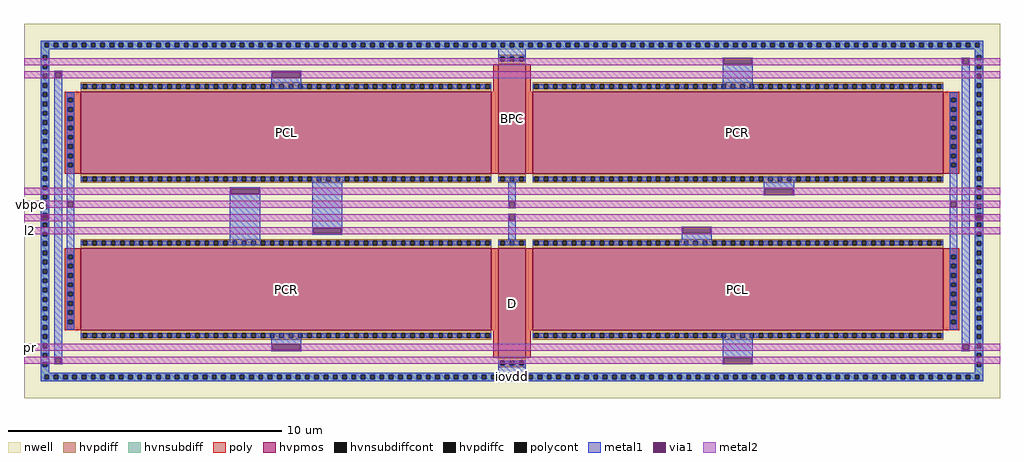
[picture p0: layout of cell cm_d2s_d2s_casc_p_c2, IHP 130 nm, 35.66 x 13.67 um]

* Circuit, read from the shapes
.subckt cm_d2s_d2s_casc_p_c2 l2 vbpc a pr pl iovdd
XM1 a vbpc pr iovdd sg13_hv_pmos w=15u l=3u m=2
XM2 pl vbpc l2 iovdd sg13_hv_pmos w=15u l=3u m=2
XM3 iovdd vbpc iovdd iovdd sg13_hv_pmos w=1u l=4u
XM4 iovdd vbpc vbpc iovdd sg13_hv_pmos w=1u l=4u
.ends

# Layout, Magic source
magic
tech ihp-sg13cmos5l
magscale 1 2
<< nwell >>
rect 0 0 7132 2734
<< hvnsubdiff >>
rect 124 2596 7008 2610
rect 124 2564 150 2596
rect 182 2564 218 2596
rect 250 2564 286 2596
rect 318 2564 354 2596
rect 386 2564 422 2596
rect 454 2564 490 2596
rect 522 2564 558 2596
rect 590 2564 626 2596
rect 658 2564 694 2596
rect 726 2564 762 2596
rect 794 2564 830 2596
rect 862 2564 898 2596
rect 930 2564 966 2596
rect 998 2564 1034 2596
rect 1066 2564 1102 2596
rect 1134 2564 1170 2596
rect 1202 2564 1238 2596
rect 1270 2564 1306 2596
rect 1338 2564 1374 2596
rect 1406 2564 1442 2596
rect 1474 2564 1510 2596
rect 1542 2564 1578 2596
rect 1610 2564 1646 2596
rect 1678 2564 1714 2596
rect 1746 2564 1782 2596
rect 1814 2564 1850 2596
rect 1882 2564 1918 2596
rect 1950 2564 1986 2596
rect 2018 2564 2054 2596
rect 2086 2564 2122 2596
rect 2154 2564 2190 2596
rect 2222 2564 2258 2596
rect 2290 2564 2326 2596
rect 2358 2564 2394 2596
rect 2426 2564 2462 2596
rect 2494 2564 2530 2596
rect 2562 2564 2598 2596
rect 2630 2564 2666 2596
rect 2698 2564 2734 2596
rect 2766 2564 2802 2596
rect 2834 2564 2870 2596
rect 2902 2564 2938 2596
rect 2970 2564 3006 2596
rect 3038 2564 3074 2596
rect 3106 2564 3142 2596
rect 3174 2564 3210 2596
rect 3242 2564 3278 2596
rect 3310 2564 3346 2596
rect 3378 2564 3414 2596
rect 3446 2564 3482 2596
rect 3514 2564 3550 2596
rect 3582 2564 3618 2596
rect 3650 2564 3686 2596
rect 3718 2564 3754 2596
rect 3786 2564 3822 2596
rect 3854 2564 3890 2596
rect 3922 2564 3958 2596
rect 3990 2564 4026 2596
rect 4058 2564 4094 2596
rect 4126 2564 4162 2596
rect 4194 2564 4230 2596
rect 4262 2564 4298 2596
rect 4330 2564 4366 2596
rect 4398 2564 4434 2596
rect 4466 2564 4502 2596
rect 4534 2564 4570 2596
rect 4602 2564 4638 2596
rect 4670 2564 4706 2596
rect 4738 2564 4774 2596
rect 4806 2564 4842 2596
rect 4874 2564 4910 2596
rect 4942 2564 4978 2596
rect 5010 2564 5046 2596
rect 5078 2564 5114 2596
rect 5146 2564 5182 2596
rect 5214 2564 5250 2596
rect 5282 2564 5318 2596
rect 5350 2564 5386 2596
rect 5418 2564 5454 2596
rect 5486 2564 5522 2596
rect 5554 2564 5590 2596
rect 5622 2564 5658 2596
rect 5690 2564 5726 2596
rect 5758 2564 5794 2596
rect 5826 2564 5862 2596
rect 5894 2564 5930 2596
rect 5962 2564 5998 2596
rect 6030 2564 6066 2596
rect 6098 2564 6134 2596
rect 6166 2564 6202 2596
rect 6234 2564 6270 2596
rect 6302 2564 6338 2596
rect 6370 2564 6406 2596
rect 6438 2564 6474 2596
rect 6506 2564 6542 2596
rect 6574 2564 6610 2596
rect 6642 2564 6678 2596
rect 6710 2564 6746 2596
rect 6778 2564 6814 2596
rect 6846 2564 6882 2596
rect 6914 2564 6950 2596
rect 6982 2564 7008 2596
rect 124 2550 7008 2564
rect 124 2505 184 2550
rect 124 2473 138 2505
rect 170 2473 184 2505
rect 124 2437 184 2473
rect 124 2405 138 2437
rect 170 2405 184 2437
rect 124 2369 184 2405
rect 124 2337 138 2369
rect 170 2337 184 2369
rect 124 2301 184 2337
rect 124 2269 138 2301
rect 170 2269 184 2301
rect 124 2233 184 2269
rect 6948 2505 7008 2550
rect 6948 2473 6962 2505
rect 6994 2473 7008 2505
rect 6948 2437 7008 2473
rect 6948 2405 6962 2437
rect 6994 2405 7008 2437
rect 6948 2369 7008 2405
rect 6948 2337 6962 2369
rect 6994 2337 7008 2369
rect 6948 2301 7008 2337
rect 6948 2269 6962 2301
rect 6994 2269 7008 2301
rect 124 2201 138 2233
rect 170 2201 184 2233
rect 124 2165 184 2201
rect 124 2133 138 2165
rect 170 2133 184 2165
rect 124 2097 184 2133
rect 124 2065 138 2097
rect 170 2065 184 2097
rect 124 2029 184 2065
rect 124 1997 138 2029
rect 170 1997 184 2029
rect 124 1961 184 1997
rect 124 1929 138 1961
rect 170 1929 184 1961
rect 124 1893 184 1929
rect 124 1861 138 1893
rect 170 1861 184 1893
rect 124 1825 184 1861
rect 124 1793 138 1825
rect 170 1793 184 1825
rect 124 1757 184 1793
rect 124 1725 138 1757
rect 170 1725 184 1757
rect 124 1689 184 1725
rect 124 1657 138 1689
rect 170 1657 184 1689
rect 124 1621 184 1657
rect 6948 2233 7008 2269
rect 6948 2201 6962 2233
rect 6994 2201 7008 2233
rect 6948 2165 7008 2201
rect 6948 2133 6962 2165
rect 6994 2133 7008 2165
rect 6948 2097 7008 2133
rect 6948 2065 6962 2097
rect 6994 2065 7008 2097
rect 6948 2029 7008 2065
rect 6948 1997 6962 2029
rect 6994 1997 7008 2029
rect 6948 1961 7008 1997
rect 6948 1929 6962 1961
rect 6994 1929 7008 1961
rect 6948 1893 7008 1929
rect 6948 1861 6962 1893
rect 6994 1861 7008 1893
rect 6948 1825 7008 1861
rect 6948 1793 6962 1825
rect 6994 1793 7008 1825
rect 6948 1757 7008 1793
rect 6948 1725 6962 1757
rect 6994 1725 7008 1757
rect 6948 1689 7008 1725
rect 6948 1657 6962 1689
rect 6994 1657 7008 1689
rect 124 1589 138 1621
rect 170 1589 184 1621
rect 124 1553 184 1589
rect 124 1521 138 1553
rect 170 1521 184 1553
rect 124 1485 184 1521
rect 124 1453 138 1485
rect 170 1453 184 1485
rect 124 1417 184 1453
rect 124 1385 138 1417
rect 170 1385 184 1417
rect 124 1349 184 1385
rect 124 1317 138 1349
rect 170 1317 184 1349
rect 124 1281 184 1317
rect 124 1249 138 1281
rect 170 1249 184 1281
rect 124 1213 184 1249
rect 124 1181 138 1213
rect 170 1181 184 1213
rect 124 1145 184 1181
rect 124 1113 138 1145
rect 170 1113 184 1145
rect 124 1077 184 1113
rect 6948 1621 7008 1657
rect 6948 1589 6962 1621
rect 6994 1589 7008 1621
rect 6948 1553 7008 1589
rect 6948 1521 6962 1553
rect 6994 1521 7008 1553
rect 6948 1485 7008 1521
rect 6948 1453 6962 1485
rect 6994 1453 7008 1485
rect 6948 1417 7008 1453
rect 6948 1385 6962 1417
rect 6994 1385 7008 1417
rect 6948 1349 7008 1385
rect 6948 1317 6962 1349
rect 6994 1317 7008 1349
rect 6948 1281 7008 1317
rect 6948 1249 6962 1281
rect 6994 1249 7008 1281
rect 6948 1213 7008 1249
rect 6948 1181 6962 1213
rect 6994 1181 7008 1213
rect 6948 1145 7008 1181
rect 6948 1113 6962 1145
rect 6994 1113 7008 1145
rect 124 1045 138 1077
rect 170 1045 184 1077
rect 124 1009 184 1045
rect 124 977 138 1009
rect 170 977 184 1009
rect 124 941 184 977
rect 124 909 138 941
rect 170 909 184 941
rect 124 873 184 909
rect 124 841 138 873
rect 170 841 184 873
rect 124 805 184 841
rect 124 773 138 805
rect 170 773 184 805
rect 124 737 184 773
rect 124 705 138 737
rect 170 705 184 737
rect 124 669 184 705
rect 124 637 138 669
rect 170 637 184 669
rect 124 601 184 637
rect 124 569 138 601
rect 170 569 184 601
rect 124 533 184 569
rect 124 501 138 533
rect 170 501 184 533
rect 124 465 184 501
rect 6948 1077 7008 1113
rect 6948 1045 6962 1077
rect 6994 1045 7008 1077
rect 6948 1009 7008 1045
rect 6948 977 6962 1009
rect 6994 977 7008 1009
rect 6948 941 7008 977
rect 6948 909 6962 941
rect 6994 909 7008 941
rect 6948 873 7008 909
rect 6948 841 6962 873
rect 6994 841 7008 873
rect 6948 805 7008 841
rect 6948 773 6962 805
rect 6994 773 7008 805
rect 6948 737 7008 773
rect 6948 705 6962 737
rect 6994 705 7008 737
rect 6948 669 7008 705
rect 6948 637 6962 669
rect 6994 637 7008 669
rect 6948 601 7008 637
rect 6948 569 6962 601
rect 6994 569 7008 601
rect 6948 533 7008 569
rect 6948 501 6962 533
rect 6994 501 7008 533
rect 124 433 138 465
rect 170 433 184 465
rect 124 397 184 433
rect 124 365 138 397
rect 170 365 184 397
rect 124 329 184 365
rect 124 297 138 329
rect 170 297 184 329
rect 124 261 184 297
rect 124 229 138 261
rect 170 229 184 261
rect 124 184 184 229
rect 6948 465 7008 501
rect 6948 433 6962 465
rect 6994 433 7008 465
rect 6948 397 7008 433
rect 6948 365 6962 397
rect 6994 365 7008 397
rect 6948 329 7008 365
rect 6948 297 6962 329
rect 6994 297 7008 329
rect 6948 261 7008 297
rect 6948 229 6962 261
rect 6994 229 7008 261
rect 6948 184 7008 229
rect 124 170 7008 184
rect 124 138 150 170
rect 182 138 218 170
rect 250 138 286 170
rect 318 138 354 170
rect 386 138 422 170
rect 454 138 490 170
rect 522 138 558 170
rect 590 138 626 170
rect 658 138 694 170
rect 726 138 762 170
rect 794 138 830 170
rect 862 138 898 170
rect 930 138 966 170
rect 998 138 1034 170
rect 1066 138 1102 170
rect 1134 138 1170 170
rect 1202 138 1238 170
rect 1270 138 1306 170
rect 1338 138 1374 170
rect 1406 138 1442 170
rect 1474 138 1510 170
rect 1542 138 1578 170
rect 1610 138 1646 170
rect 1678 138 1714 170
rect 1746 138 1782 170
rect 1814 138 1850 170
rect 1882 138 1918 170
rect 1950 138 1986 170
rect 2018 138 2054 170
rect 2086 138 2122 170
rect 2154 138 2190 170
rect 2222 138 2258 170
rect 2290 138 2326 170
rect 2358 138 2394 170
rect 2426 138 2462 170
rect 2494 138 2530 170
rect 2562 138 2598 170
rect 2630 138 2666 170
rect 2698 138 2734 170
rect 2766 138 2802 170
rect 2834 138 2870 170
rect 2902 138 2938 170
rect 2970 138 3006 170
rect 3038 138 3074 170
rect 3106 138 3142 170
rect 3174 138 3210 170
rect 3242 138 3278 170
rect 3310 138 3346 170
rect 3378 138 3414 170
rect 3446 138 3482 170
rect 3514 138 3550 170
rect 3582 138 3618 170
rect 3650 138 3686 170
rect 3718 138 3754 170
rect 3786 138 3822 170
rect 3854 138 3890 170
rect 3922 138 3958 170
rect 3990 138 4026 170
rect 4058 138 4094 170
rect 4126 138 4162 170
rect 4194 138 4230 170
rect 4262 138 4298 170
rect 4330 138 4366 170
rect 4398 138 4434 170
rect 4466 138 4502 170
rect 4534 138 4570 170
rect 4602 138 4638 170
rect 4670 138 4706 170
rect 4738 138 4774 170
rect 4806 138 4842 170
rect 4874 138 4910 170
rect 4942 138 4978 170
rect 5010 138 5046 170
rect 5078 138 5114 170
rect 5146 138 5182 170
rect 5214 138 5250 170
rect 5282 138 5318 170
rect 5350 138 5386 170
rect 5418 138 5454 170
rect 5486 138 5522 170
rect 5554 138 5590 170
rect 5622 138 5658 170
rect 5690 138 5726 170
rect 5758 138 5794 170
rect 5826 138 5862 170
rect 5894 138 5930 170
rect 5962 138 5998 170
rect 6030 138 6066 170
rect 6098 138 6134 170
rect 6166 138 6202 170
rect 6234 138 6270 170
rect 6302 138 6338 170
rect 6370 138 6406 170
rect 6438 138 6474 170
rect 6506 138 6542 170
rect 6574 138 6610 170
rect 6642 138 6678 170
rect 6710 138 6746 170
rect 6778 138 6814 170
rect 6846 138 6882 170
rect 6914 138 6950 170
rect 6982 138 7008 170
rect 124 124 7008 138
<< hvnsubdiffcont >>
rect 150 2564 182 2596
rect 218 2564 250 2596
rect 286 2564 318 2596
rect 354 2564 386 2596
rect 422 2564 454 2596
rect 490 2564 522 2596
rect 558 2564 590 2596
rect 626 2564 658 2596
rect 694 2564 726 2596
rect 762 2564 794 2596
rect 830 2564 862 2596
rect 898 2564 930 2596
rect 966 2564 998 2596
rect 1034 2564 1066 2596
rect 1102 2564 1134 2596
rect 1170 2564 1202 2596
rect 1238 2564 1270 2596
rect 1306 2564 1338 2596
rect 1374 2564 1406 2596
rect 1442 2564 1474 2596
rect 1510 2564 1542 2596
rect 1578 2564 1610 2596
rect 1646 2564 1678 2596
rect 1714 2564 1746 2596
rect 1782 2564 1814 2596
rect 1850 2564 1882 2596
rect 1918 2564 1950 2596
rect 1986 2564 2018 2596
rect 2054 2564 2086 2596
rect 2122 2564 2154 2596
rect 2190 2564 2222 2596
rect 2258 2564 2290 2596
rect 2326 2564 2358 2596
rect 2394 2564 2426 2596
rect 2462 2564 2494 2596
rect 2530 2564 2562 2596
rect 2598 2564 2630 2596
rect 2666 2564 2698 2596
rect 2734 2564 2766 2596
rect 2802 2564 2834 2596
rect 2870 2564 2902 2596
rect 2938 2564 2970 2596
rect 3006 2564 3038 2596
rect 3074 2564 3106 2596
rect 3142 2564 3174 2596
rect 3210 2564 3242 2596
rect 3278 2564 3310 2596
rect 3346 2564 3378 2596
rect 3414 2564 3446 2596
rect 3482 2564 3514 2596
rect 3550 2564 3582 2596
rect 3618 2564 3650 2596
rect 3686 2564 3718 2596
rect 3754 2564 3786 2596
rect 3822 2564 3854 2596
rect 3890 2564 3922 2596
rect 3958 2564 3990 2596
rect 4026 2564 4058 2596
rect 4094 2564 4126 2596
rect 4162 2564 4194 2596
rect 4230 2564 4262 2596
rect 4298 2564 4330 2596
rect 4366 2564 4398 2596
rect 4434 2564 4466 2596
rect 4502 2564 4534 2596
rect 4570 2564 4602 2596
rect 4638 2564 4670 2596
rect 4706 2564 4738 2596
rect 4774 2564 4806 2596
rect 4842 2564 4874 2596
rect 4910 2564 4942 2596
rect 4978 2564 5010 2596
rect 5046 2564 5078 2596
rect 5114 2564 5146 2596
rect 5182 2564 5214 2596
rect 5250 2564 5282 2596
rect 5318 2564 5350 2596
rect 5386 2564 5418 2596
rect 5454 2564 5486 2596
rect 5522 2564 5554 2596
rect 5590 2564 5622 2596
rect 5658 2564 5690 2596
rect 5726 2564 5758 2596
rect 5794 2564 5826 2596
rect 5862 2564 5894 2596
rect 5930 2564 5962 2596
rect 5998 2564 6030 2596
rect 6066 2564 6098 2596
rect 6134 2564 6166 2596
rect 6202 2564 6234 2596
rect 6270 2564 6302 2596
rect 6338 2564 6370 2596
rect 6406 2564 6438 2596
rect 6474 2564 6506 2596
rect 6542 2564 6574 2596
rect 6610 2564 6642 2596
rect 6678 2564 6710 2596
rect 6746 2564 6778 2596
rect 6814 2564 6846 2596
rect 6882 2564 6914 2596
rect 6950 2564 6982 2596
rect 138 2473 170 2505
rect 138 2405 170 2437
rect 138 2337 170 2369
rect 138 2269 170 2301
rect 6962 2473 6994 2505
rect 6962 2405 6994 2437
rect 6962 2337 6994 2369
rect 6962 2269 6994 2301
rect 138 2201 170 2233
rect 138 2133 170 2165
rect 138 2065 170 2097
rect 138 1997 170 2029
rect 138 1929 170 1961
rect 138 1861 170 1893
rect 138 1793 170 1825
rect 138 1725 170 1757
rect 138 1657 170 1689
rect 6962 2201 6994 2233
rect 6962 2133 6994 2165
rect 6962 2065 6994 2097
rect 6962 1997 6994 2029
rect 6962 1929 6994 1961
rect 6962 1861 6994 1893
rect 6962 1793 6994 1825
rect 6962 1725 6994 1757
rect 6962 1657 6994 1689
rect 138 1589 170 1621
rect 138 1521 170 1553
rect 138 1453 170 1485
rect 138 1385 170 1417
rect 138 1317 170 1349
rect 138 1249 170 1281
rect 138 1181 170 1213
rect 138 1113 170 1145
rect 6962 1589 6994 1621
rect 6962 1521 6994 1553
rect 6962 1453 6994 1485
rect 6962 1385 6994 1417
rect 6962 1317 6994 1349
rect 6962 1249 6994 1281
rect 6962 1181 6994 1213
rect 6962 1113 6994 1145
rect 138 1045 170 1077
rect 138 977 170 1009
rect 138 909 170 941
rect 138 841 170 873
rect 138 773 170 805
rect 138 705 170 737
rect 138 637 170 669
rect 138 569 170 601
rect 138 501 170 533
rect 6962 1045 6994 1077
rect 6962 977 6994 1009
rect 6962 909 6994 941
rect 6962 841 6994 873
rect 6962 773 6994 805
rect 6962 705 6994 737
rect 6962 637 6994 669
rect 6962 569 6994 601
rect 6962 501 6994 533
rect 138 433 170 465
rect 138 365 170 397
rect 138 297 170 329
rect 138 229 170 261
rect 6962 433 6994 465
rect 6962 365 6994 397
rect 6962 297 6994 329
rect 6962 229 6994 261
rect 150 138 182 170
rect 218 138 250 170
rect 286 138 318 170
rect 354 138 386 170
rect 422 138 454 170
rect 490 138 522 170
rect 558 138 590 170
rect 626 138 658 170
rect 694 138 726 170
rect 762 138 794 170
rect 830 138 862 170
rect 898 138 930 170
rect 966 138 998 170
rect 1034 138 1066 170
rect 1102 138 1134 170
rect 1170 138 1202 170
rect 1238 138 1270 170
rect 1306 138 1338 170
rect 1374 138 1406 170
rect 1442 138 1474 170
rect 1510 138 1542 170
rect 1578 138 1610 170
rect 1646 138 1678 170
rect 1714 138 1746 170
rect 1782 138 1814 170
rect 1850 138 1882 170
rect 1918 138 1950 170
rect 1986 138 2018 170
rect 2054 138 2086 170
rect 2122 138 2154 170
rect 2190 138 2222 170
rect 2258 138 2290 170
rect 2326 138 2358 170
rect 2394 138 2426 170
rect 2462 138 2494 170
rect 2530 138 2562 170
rect 2598 138 2630 170
rect 2666 138 2698 170
rect 2734 138 2766 170
rect 2802 138 2834 170
rect 2870 138 2902 170
rect 2938 138 2970 170
rect 3006 138 3038 170
rect 3074 138 3106 170
rect 3142 138 3174 170
rect 3210 138 3242 170
rect 3278 138 3310 170
rect 3346 138 3378 170
rect 3414 138 3446 170
rect 3482 138 3514 170
rect 3550 138 3582 170
rect 3618 138 3650 170
rect 3686 138 3718 170
rect 3754 138 3786 170
rect 3822 138 3854 170
rect 3890 138 3922 170
rect 3958 138 3990 170
rect 4026 138 4058 170
rect 4094 138 4126 170
rect 4162 138 4194 170
rect 4230 138 4262 170
rect 4298 138 4330 170
rect 4366 138 4398 170
rect 4434 138 4466 170
rect 4502 138 4534 170
rect 4570 138 4602 170
rect 4638 138 4670 170
rect 4706 138 4738 170
rect 4774 138 4806 170
rect 4842 138 4874 170
rect 4910 138 4942 170
rect 4978 138 5010 170
rect 5046 138 5078 170
rect 5114 138 5146 170
rect 5182 138 5214 170
rect 5250 138 5282 170
rect 5318 138 5350 170
rect 5386 138 5418 170
rect 5454 138 5486 170
rect 5522 138 5554 170
rect 5590 138 5622 170
rect 5658 138 5690 170
rect 5726 138 5758 170
rect 5794 138 5826 170
rect 5862 138 5894 170
rect 5930 138 5962 170
rect 5998 138 6030 170
rect 6066 138 6098 170
rect 6134 138 6166 170
rect 6202 138 6234 170
rect 6270 138 6302 170
rect 6338 138 6370 170
rect 6406 138 6438 170
rect 6474 138 6506 170
rect 6542 138 6574 170
rect 6610 138 6642 170
rect 6678 138 6710 170
rect 6746 138 6778 170
rect 6814 138 6846 170
rect 6882 138 6914 170
rect 6950 138 6982 170
<< poly >>
rect 296 2194 416 2240
rect 296 2162 324 2194
rect 356 2162 416 2194
rect 296 2126 416 2162
rect 296 2094 324 2126
rect 356 2094 416 2126
rect 296 2058 416 2094
rect 296 2026 324 2058
rect 356 2026 416 2058
rect 296 1990 416 2026
rect 296 1958 324 1990
rect 356 1958 416 1990
rect 296 1922 416 1958
rect 296 1890 324 1922
rect 356 1890 416 1922
rect 296 1854 416 1890
rect 296 1822 324 1854
rect 356 1822 416 1854
rect 296 1786 416 1822
rect 296 1754 324 1786
rect 356 1754 416 1786
rect 296 1718 416 1754
rect 296 1686 324 1718
rect 356 1686 416 1718
rect 296 1640 416 1686
rect 6716 2194 6836 2240
rect 6716 2162 6776 2194
rect 6808 2162 6836 2194
rect 6716 2126 6836 2162
rect 6716 2094 6776 2126
rect 6808 2094 6836 2126
rect 6716 2058 6836 2094
rect 6716 2026 6776 2058
rect 6808 2026 6836 2058
rect 6716 1990 6836 2026
rect 6716 1958 6776 1990
rect 6808 1958 6836 1990
rect 6716 1922 6836 1958
rect 6716 1890 6776 1922
rect 6808 1890 6836 1922
rect 6716 1854 6836 1890
rect 6716 1822 6776 1854
rect 6808 1822 6836 1854
rect 6716 1786 6836 1822
rect 6716 1754 6776 1786
rect 6808 1754 6836 1786
rect 6716 1718 6836 1754
rect 6716 1686 6776 1718
rect 6808 1686 6836 1718
rect 6716 1640 6836 1686
rect 296 1048 416 1094
rect 296 1016 324 1048
rect 356 1016 416 1048
rect 296 980 416 1016
rect 296 948 324 980
rect 356 948 416 980
rect 296 912 416 948
rect 296 880 324 912
rect 356 880 416 912
rect 296 844 416 880
rect 296 812 324 844
rect 356 812 416 844
rect 296 776 416 812
rect 296 744 324 776
rect 356 744 416 776
rect 296 708 416 744
rect 296 676 324 708
rect 356 676 416 708
rect 296 640 416 676
rect 296 608 324 640
rect 356 608 416 640
rect 296 572 416 608
rect 296 540 324 572
rect 356 540 416 572
rect 296 494 416 540
rect 6716 1048 6836 1094
rect 6716 1016 6776 1048
rect 6808 1016 6836 1048
rect 6716 980 6836 1016
rect 6716 948 6776 980
rect 6808 948 6836 980
rect 6716 912 6836 948
rect 6716 880 6776 912
rect 6808 880 6836 912
rect 6716 844 6836 880
rect 6716 812 6776 844
rect 6808 812 6836 844
rect 6716 776 6836 812
rect 6716 744 6776 776
rect 6808 744 6836 776
rect 6716 708 6836 744
rect 6716 676 6776 708
rect 6808 676 6836 708
rect 6716 640 6836 676
rect 6716 608 6776 640
rect 6808 608 6836 640
rect 6716 572 6836 608
rect 6716 540 6776 572
rect 6808 540 6836 572
rect 6716 494 6836 540
<< polycont >>
rect 324 2162 356 2194
rect 324 2094 356 2126
rect 324 2026 356 2058
rect 324 1958 356 1990
rect 324 1890 356 1922
rect 324 1822 356 1854
rect 324 1754 356 1786
rect 324 1686 356 1718
rect 6776 2162 6808 2194
rect 6776 2094 6808 2126
rect 6776 2026 6808 2058
rect 6776 1958 6808 1990
rect 6776 1890 6808 1922
rect 6776 1822 6808 1854
rect 6776 1754 6808 1786
rect 6776 1686 6808 1718
rect 324 1016 356 1048
rect 324 948 356 980
rect 324 880 356 912
rect 324 812 356 844
rect 324 744 356 776
rect 324 676 356 708
rect 324 608 356 640
rect 324 540 356 572
rect 6776 1016 6808 1048
rect 6776 948 6808 980
rect 6776 880 6808 912
rect 6776 812 6808 844
rect 6776 744 6808 776
rect 6776 676 6808 708
rect 6776 608 6808 640
rect 6776 540 6808 572
<< metal1 >>
rect 124 2596 7008 2610
rect 124 2564 150 2596
rect 182 2564 218 2596
rect 250 2564 286 2596
rect 318 2564 354 2596
rect 386 2564 422 2596
rect 454 2564 490 2596
rect 522 2564 558 2596
rect 590 2564 626 2596
rect 658 2564 694 2596
rect 726 2564 762 2596
rect 794 2564 830 2596
rect 862 2564 898 2596
rect 930 2564 966 2596
rect 998 2564 1034 2596
rect 1066 2564 1102 2596
rect 1134 2564 1170 2596
rect 1202 2564 1238 2596
rect 1270 2564 1306 2596
rect 1338 2564 1374 2596
rect 1406 2564 1442 2596
rect 1474 2564 1510 2596
rect 1542 2564 1578 2596
rect 1610 2564 1646 2596
rect 1678 2564 1714 2596
rect 1746 2564 1782 2596
rect 1814 2564 1850 2596
rect 1882 2564 1918 2596
rect 1950 2564 1986 2596
rect 2018 2564 2054 2596
rect 2086 2564 2122 2596
rect 2154 2564 2190 2596
rect 2222 2564 2258 2596
rect 2290 2564 2326 2596
rect 2358 2564 2394 2596
rect 2426 2564 2462 2596
rect 2494 2564 2530 2596
rect 2562 2564 2598 2596
rect 2630 2564 2666 2596
rect 2698 2564 2734 2596
rect 2766 2564 2802 2596
rect 2834 2564 2870 2596
rect 2902 2564 2938 2596
rect 2970 2564 3006 2596
rect 3038 2564 3074 2596
rect 3106 2564 3142 2596
rect 3174 2564 3210 2596
rect 3242 2564 3278 2596
rect 3310 2564 3346 2596
rect 3378 2564 3414 2596
rect 3446 2564 3482 2596
rect 3514 2564 3550 2596
rect 3582 2564 3618 2596
rect 3650 2564 3686 2596
rect 3718 2564 3754 2596
rect 3786 2564 3822 2596
rect 3854 2564 3890 2596
rect 3922 2564 3958 2596
rect 3990 2564 4026 2596
rect 4058 2564 4094 2596
rect 4126 2564 4162 2596
rect 4194 2564 4230 2596
rect 4262 2564 4298 2596
rect 4330 2564 4366 2596
rect 4398 2564 4434 2596
rect 4466 2564 4502 2596
rect 4534 2564 4570 2596
rect 4602 2564 4638 2596
rect 4670 2564 4706 2596
rect 4738 2564 4774 2596
rect 4806 2564 4842 2596
rect 4874 2564 4910 2596
rect 4942 2564 4978 2596
rect 5010 2564 5046 2596
rect 5078 2564 5114 2596
rect 5146 2564 5182 2596
rect 5214 2564 5250 2596
rect 5282 2564 5318 2596
rect 5350 2564 5386 2596
rect 5418 2564 5454 2596
rect 5486 2564 5522 2596
rect 5554 2564 5590 2596
rect 5622 2564 5658 2596
rect 5690 2564 5726 2596
rect 5758 2564 5794 2596
rect 5826 2564 5862 2596
rect 5894 2564 5930 2596
rect 5962 2564 5998 2596
rect 6030 2564 6066 2596
rect 6098 2564 6134 2596
rect 6166 2564 6202 2596
rect 6234 2564 6270 2596
rect 6302 2564 6338 2596
rect 6370 2564 6406 2596
rect 6438 2564 6474 2596
rect 6506 2564 6542 2596
rect 6574 2564 6610 2596
rect 6642 2564 6678 2596
rect 6710 2564 6746 2596
rect 6778 2564 6814 2596
rect 6846 2564 6882 2596
rect 6914 2564 6950 2596
rect 6982 2564 7008 2596
rect 124 2550 7008 2564
rect 124 2505 184 2550
rect 124 2473 138 2505
rect 170 2473 184 2505
rect 3466 2494 3666 2550
rect 6948 2505 7008 2550
rect 124 2437 184 2473
rect 124 2405 138 2437
rect 170 2405 184 2437
rect 124 2369 184 2405
rect 5105 2478 5327 2487
rect 5105 2438 5114 2478
rect 5318 2438 5327 2478
rect 124 2337 138 2369
rect 170 2337 184 2369
rect 124 2301 184 2337
rect 124 2269 138 2301
rect 170 2269 184 2301
rect 124 2233 184 2269
rect 124 2201 138 2233
rect 170 2201 184 2233
rect 124 2165 184 2201
rect 124 2133 138 2165
rect 170 2133 184 2165
rect 124 2097 184 2133
rect 124 2065 138 2097
rect 170 2065 184 2097
rect 124 2029 184 2065
rect 124 1997 138 2029
rect 170 1997 184 2029
rect 124 1961 184 1997
rect 124 1929 138 1961
rect 170 1929 184 1961
rect 124 1893 184 1929
rect 124 1861 138 1893
rect 170 1861 184 1893
rect 124 1825 184 1861
rect 124 1793 138 1825
rect 170 1793 184 1825
rect 124 1757 184 1793
rect 124 1725 138 1757
rect 170 1725 184 1757
rect 124 1689 184 1725
rect 124 1657 138 1689
rect 170 1657 184 1689
rect 124 1621 184 1657
rect 124 1589 138 1621
rect 170 1589 184 1621
rect 124 1553 184 1589
rect 124 1521 138 1553
rect 170 1521 184 1553
rect 124 1485 184 1521
rect 124 1453 138 1485
rect 170 1453 184 1485
rect 124 1417 184 1453
rect 124 1385 138 1417
rect 170 1385 184 1417
rect 124 1349 184 1385
rect 124 1339 138 1349
rect 170 1339 184 1349
rect 124 1299 134 1339
rect 174 1299 184 1339
rect 124 1281 184 1299
rect 124 1249 138 1281
rect 170 1249 184 1281
rect 124 1213 184 1249
rect 124 1181 138 1213
rect 170 1181 184 1213
rect 124 1145 184 1181
rect 124 1113 138 1145
rect 170 1113 184 1145
rect 124 1077 184 1113
rect 124 1045 138 1077
rect 170 1045 184 1077
rect 124 1009 184 1045
rect 124 977 138 1009
rect 170 977 184 1009
rect 124 941 184 977
rect 124 909 138 941
rect 170 909 184 941
rect 124 873 184 909
rect 124 841 138 873
rect 170 841 184 873
rect 124 805 184 841
rect 124 773 138 805
rect 170 773 184 805
rect 124 737 184 773
rect 124 705 138 737
rect 170 705 184 737
rect 124 669 184 705
rect 124 637 138 669
rect 170 637 184 669
rect 124 601 184 637
rect 124 569 138 601
rect 170 569 184 601
rect 124 533 184 569
rect 124 501 138 533
rect 170 501 184 533
rect 124 465 184 501
rect 124 433 138 465
rect 170 433 184 465
rect 124 397 184 433
rect 124 365 138 397
rect 170 365 184 397
rect 124 329 184 365
rect 124 297 138 329
rect 170 297 184 329
rect 124 261 184 297
rect 124 229 138 261
rect 170 229 184 261
rect 220 2382 278 2391
rect 220 2342 229 2382
rect 269 2342 278 2382
rect 220 296 278 2342
rect 1805 2382 2027 2391
rect 1805 2342 1814 2382
rect 2018 2342 2027 2382
rect 1805 2262 2027 2342
rect 5105 2262 5327 2438
rect 6854 2478 6912 2487
rect 6854 2438 6863 2478
rect 6903 2438 6912 2478
rect 314 2194 366 2236
rect 314 2162 324 2194
rect 356 2162 366 2194
rect 314 2126 366 2162
rect 314 2094 324 2126
rect 356 2094 366 2126
rect 314 2058 366 2094
rect 314 2026 324 2058
rect 356 2026 366 2058
rect 314 1990 366 2026
rect 314 1958 324 1990
rect 356 1958 366 1990
rect 314 1922 366 1958
rect 314 1890 324 1922
rect 356 1890 366 1922
rect 314 1854 366 1890
rect 314 1822 324 1854
rect 356 1822 366 1854
rect 314 1786 366 1822
rect 314 1754 324 1786
rect 356 1754 366 1786
rect 314 1718 366 1754
rect 314 1686 324 1718
rect 356 1686 366 1718
rect 314 1435 366 1686
rect 6766 2194 6818 2236
rect 6766 2162 6776 2194
rect 6808 2162 6818 2194
rect 6766 2126 6818 2162
rect 6766 2094 6776 2126
rect 6808 2094 6818 2126
rect 6766 2058 6818 2094
rect 6766 2026 6776 2058
rect 6808 2026 6818 2058
rect 6766 1990 6818 2026
rect 6766 1958 6776 1990
rect 6808 1958 6818 1990
rect 6766 1922 6818 1958
rect 6766 1890 6776 1922
rect 6808 1890 6818 1922
rect 6766 1854 6818 1890
rect 6766 1822 6776 1854
rect 6808 1822 6818 1854
rect 6766 1786 6818 1822
rect 6766 1754 6776 1786
rect 6808 1754 6818 1786
rect 6766 1718 6818 1754
rect 6766 1686 6776 1718
rect 6808 1686 6818 1718
rect 314 1395 320 1435
rect 360 1395 366 1435
rect 314 1048 366 1395
rect 1505 1531 1727 1540
rect 1505 1491 1514 1531
rect 1718 1491 1727 1531
rect 1505 1116 1727 1491
rect 2105 1243 2327 1618
rect 3537 1435 3595 1618
rect 5405 1531 5627 1618
rect 5405 1491 5414 1531
rect 5618 1491 5627 1531
rect 5405 1482 5627 1491
rect 3537 1395 3546 1435
rect 3586 1395 3595 1435
rect 3537 1386 3595 1395
rect 6766 1435 6818 1686
rect 6766 1395 6772 1435
rect 6812 1395 6818 1435
rect 2105 1203 2114 1243
rect 2318 1203 2327 1243
rect 2105 1194 2327 1203
rect 3537 1339 3595 1348
rect 3537 1299 3546 1339
rect 3586 1299 3595 1339
rect 3537 1116 3595 1299
rect 4805 1243 5027 1252
rect 4805 1203 4814 1243
rect 5018 1203 5027 1243
rect 4805 1116 5027 1203
rect 314 1016 324 1048
rect 356 1016 366 1048
rect 314 980 366 1016
rect 314 948 324 980
rect 356 948 366 980
rect 314 912 366 948
rect 314 880 324 912
rect 356 880 366 912
rect 314 844 366 880
rect 314 812 324 844
rect 356 812 366 844
rect 314 776 366 812
rect 314 744 324 776
rect 356 744 366 776
rect 314 708 366 744
rect 314 676 324 708
rect 356 676 366 708
rect 314 640 366 676
rect 314 608 324 640
rect 356 608 366 640
rect 314 572 366 608
rect 314 540 324 572
rect 356 540 366 572
rect 314 498 366 540
rect 6766 1048 6818 1395
rect 6766 1016 6776 1048
rect 6808 1016 6818 1048
rect 6766 980 6818 1016
rect 6766 948 6776 980
rect 6808 948 6818 980
rect 6766 912 6818 948
rect 6766 880 6776 912
rect 6808 880 6818 912
rect 6766 844 6818 880
rect 6766 812 6776 844
rect 6808 812 6818 844
rect 6766 776 6818 812
rect 6766 744 6776 776
rect 6808 744 6818 776
rect 6766 708 6818 744
rect 6766 676 6776 708
rect 6808 676 6818 708
rect 6766 640 6818 676
rect 6766 608 6776 640
rect 6808 608 6818 640
rect 6766 572 6818 608
rect 6766 540 6776 572
rect 6808 540 6818 572
rect 6766 498 6818 540
rect 1805 392 2027 472
rect 1805 352 1814 392
rect 2018 352 2027 392
rect 1805 343 2027 352
rect 220 256 229 296
rect 269 256 278 296
rect 220 247 278 256
rect 5105 296 5327 472
rect 6854 392 6912 2438
rect 6854 352 6863 392
rect 6903 352 6912 392
rect 6854 343 6912 352
rect 6948 2473 6962 2505
rect 6994 2473 7008 2505
rect 6948 2437 7008 2473
rect 6948 2405 6962 2437
rect 6994 2405 7008 2437
rect 6948 2369 7008 2405
rect 6948 2337 6962 2369
rect 6994 2337 7008 2369
rect 6948 2301 7008 2337
rect 6948 2269 6962 2301
rect 6994 2269 7008 2301
rect 6948 2233 7008 2269
rect 6948 2201 6962 2233
rect 6994 2201 7008 2233
rect 6948 2165 7008 2201
rect 6948 2133 6962 2165
rect 6994 2133 7008 2165
rect 6948 2097 7008 2133
rect 6948 2065 6962 2097
rect 6994 2065 7008 2097
rect 6948 2029 7008 2065
rect 6948 1997 6962 2029
rect 6994 1997 7008 2029
rect 6948 1961 7008 1997
rect 6948 1929 6962 1961
rect 6994 1929 7008 1961
rect 6948 1893 7008 1929
rect 6948 1861 6962 1893
rect 6994 1861 7008 1893
rect 6948 1825 7008 1861
rect 6948 1793 6962 1825
rect 6994 1793 7008 1825
rect 6948 1757 7008 1793
rect 6948 1725 6962 1757
rect 6994 1725 7008 1757
rect 6948 1689 7008 1725
rect 6948 1657 6962 1689
rect 6994 1657 7008 1689
rect 6948 1621 7008 1657
rect 6948 1589 6962 1621
rect 6994 1589 7008 1621
rect 6948 1553 7008 1589
rect 6948 1521 6962 1553
rect 6994 1521 7008 1553
rect 6948 1485 7008 1521
rect 6948 1453 6962 1485
rect 6994 1453 7008 1485
rect 6948 1417 7008 1453
rect 6948 1385 6962 1417
rect 6994 1385 7008 1417
rect 6948 1349 7008 1385
rect 6948 1339 6962 1349
rect 6994 1339 7008 1349
rect 6948 1299 6958 1339
rect 6998 1299 7008 1339
rect 6948 1281 7008 1299
rect 6948 1249 6962 1281
rect 6994 1249 7008 1281
rect 6948 1213 7008 1249
rect 6948 1181 6962 1213
rect 6994 1181 7008 1213
rect 6948 1145 7008 1181
rect 6948 1113 6962 1145
rect 6994 1113 7008 1145
rect 6948 1077 7008 1113
rect 6948 1045 6962 1077
rect 6994 1045 7008 1077
rect 6948 1009 7008 1045
rect 6948 977 6962 1009
rect 6994 977 7008 1009
rect 6948 941 7008 977
rect 6948 909 6962 941
rect 6994 909 7008 941
rect 6948 873 7008 909
rect 6948 841 6962 873
rect 6994 841 7008 873
rect 6948 805 7008 841
rect 6948 773 6962 805
rect 6994 773 7008 805
rect 6948 737 7008 773
rect 6948 705 6962 737
rect 6994 705 7008 737
rect 6948 669 7008 705
rect 6948 637 6962 669
rect 6994 637 7008 669
rect 6948 601 7008 637
rect 6948 569 6962 601
rect 6994 569 7008 601
rect 6948 533 7008 569
rect 6948 501 6962 533
rect 6994 501 7008 533
rect 6948 465 7008 501
rect 6948 433 6962 465
rect 6994 433 7008 465
rect 6948 397 7008 433
rect 6948 365 6962 397
rect 6994 365 7008 397
rect 5105 256 5114 296
rect 5318 256 5327 296
rect 5105 247 5327 256
rect 6948 329 7008 365
rect 6948 297 6962 329
rect 6994 297 7008 329
rect 6948 261 7008 297
rect 124 184 184 229
rect 3466 184 3666 240
rect 6948 229 6962 261
rect 6994 229 7008 261
rect 6948 184 7008 229
rect 124 170 7008 184
rect 124 138 150 170
rect 182 138 218 170
rect 250 138 286 170
rect 318 138 354 170
rect 386 138 422 170
rect 454 138 490 170
rect 522 138 558 170
rect 590 138 626 170
rect 658 138 694 170
rect 726 138 762 170
rect 794 138 830 170
rect 862 138 898 170
rect 930 138 966 170
rect 998 138 1034 170
rect 1066 138 1102 170
rect 1134 138 1170 170
rect 1202 138 1238 170
rect 1270 138 1306 170
rect 1338 138 1374 170
rect 1406 138 1442 170
rect 1474 138 1510 170
rect 1542 138 1578 170
rect 1610 138 1646 170
rect 1678 138 1714 170
rect 1746 138 1782 170
rect 1814 138 1850 170
rect 1882 138 1918 170
rect 1950 138 1986 170
rect 2018 138 2054 170
rect 2086 138 2122 170
rect 2154 138 2190 170
rect 2222 138 2258 170
rect 2290 138 2326 170
rect 2358 138 2394 170
rect 2426 138 2462 170
rect 2494 138 2530 170
rect 2562 138 2598 170
rect 2630 138 2666 170
rect 2698 138 2734 170
rect 2766 138 2802 170
rect 2834 138 2870 170
rect 2902 138 2938 170
rect 2970 138 3006 170
rect 3038 138 3074 170
rect 3106 138 3142 170
rect 3174 138 3210 170
rect 3242 138 3278 170
rect 3310 138 3346 170
rect 3378 138 3414 170
rect 3446 138 3482 170
rect 3514 138 3550 170
rect 3582 138 3618 170
rect 3650 138 3686 170
rect 3718 138 3754 170
rect 3786 138 3822 170
rect 3854 138 3890 170
rect 3922 138 3958 170
rect 3990 138 4026 170
rect 4058 138 4094 170
rect 4126 138 4162 170
rect 4194 138 4230 170
rect 4262 138 4298 170
rect 4330 138 4366 170
rect 4398 138 4434 170
rect 4466 138 4502 170
rect 4534 138 4570 170
rect 4602 138 4638 170
rect 4670 138 4706 170
rect 4738 138 4774 170
rect 4806 138 4842 170
rect 4874 138 4910 170
rect 4942 138 4978 170
rect 5010 138 5046 170
rect 5078 138 5114 170
rect 5146 138 5182 170
rect 5214 138 5250 170
rect 5282 138 5318 170
rect 5350 138 5386 170
rect 5418 138 5454 170
rect 5486 138 5522 170
rect 5554 138 5590 170
rect 5622 138 5658 170
rect 5690 138 5726 170
rect 5758 138 5794 170
rect 5826 138 5862 170
rect 5894 138 5930 170
rect 5962 138 5998 170
rect 6030 138 6066 170
rect 6098 138 6134 170
rect 6166 138 6202 170
rect 6234 138 6270 170
rect 6302 138 6338 170
rect 6370 138 6406 170
rect 6438 138 6474 170
rect 6506 138 6542 170
rect 6574 138 6610 170
rect 6642 138 6678 170
rect 6710 138 6746 170
rect 6778 138 6814 170
rect 6846 138 6882 170
rect 6914 138 6950 170
rect 6982 138 7008 170
rect 124 124 7008 138
<< via1 >>
rect 5114 2438 5318 2478
rect 134 1317 138 1339
rect 138 1317 170 1339
rect 170 1317 174 1339
rect 134 1299 174 1317
rect 229 2342 269 2382
rect 1814 2342 2018 2382
rect 6863 2438 6903 2478
rect 320 1395 360 1435
rect 1514 1491 1718 1531
rect 5414 1491 5618 1531
rect 3546 1395 3586 1435
rect 6772 1395 6812 1435
rect 2114 1203 2318 1243
rect 3546 1299 3586 1339
rect 4814 1203 5018 1243
rect 1814 352 2018 392
rect 229 256 269 296
rect 6863 352 6903 392
rect 6958 1317 6962 1339
rect 6962 1317 6994 1339
rect 6994 1317 6998 1339
rect 6958 1299 6998 1317
rect 5114 256 5318 296
<< metal2 >>
rect 0 2478 7132 2484
rect 0 2438 5114 2478
rect 5318 2438 6863 2478
rect 6903 2438 7132 2478
rect 0 2432 7132 2438
rect 0 2382 7132 2388
rect 0 2342 229 2382
rect 269 2342 1814 2382
rect 2018 2342 7132 2382
rect 0 2336 7132 2342
rect 0 1531 7132 1537
rect 0 1491 1514 1531
rect 1718 1491 5414 1531
rect 5618 1491 7132 1531
rect 0 1485 7132 1491
rect 0 1435 7132 1441
rect 0 1395 320 1435
rect 360 1395 3546 1435
rect 3586 1395 6772 1435
rect 6812 1395 7132 1435
rect 0 1389 7132 1395
rect 0 1339 7132 1345
rect 0 1299 134 1339
rect 174 1299 3546 1339
rect 3586 1299 6958 1339
rect 6998 1299 7132 1339
rect 0 1293 7132 1299
rect 0 1243 7132 1249
rect 0 1203 2114 1243
rect 2318 1203 4814 1243
rect 5018 1203 7132 1243
rect 0 1197 7132 1203
rect 0 392 7132 398
rect 0 352 1814 392
rect 2018 352 6863 392
rect 6903 352 7132 392
rect 0 346 7132 352
rect 0 296 7132 302
rect 0 256 229 296
rect 269 256 5114 296
rect 5318 256 7132 296
rect 0 250 7132 256
use cm_d2s_pmosHV_w1_l4  cm_d2s_pmosHV_w1_l4_0
transform 0 -1 3666 -1 0 2508
box -124 -124 1060 324
use cm_d2s_pmosHV_w1_l4  cm_d2s_pmosHV_w1_l4_1
transform 0 -1 3666 1 0 226
box -124 -124 1060 324
use cm_d2s_pmosHV_w15_l3  cm_d2s_pmosHV_w15_l3_0
transform 0 -1 3416 -1 0 2308
box -124 -124 860 3124
use cm_d2s_pmosHV_w15_l3  cm_d2s_pmosHV_w15_l3_1
transform 0 1 3716 1 0 426
box -124 -124 860 3124
use cm_d2s_pmosHV_w15_l3  cm_d2s_pmosHV_w15_l3_2
transform 0 1 3716 -1 0 2308
box -124 -124 860 3124
use cm_d2s_pmosHV_w15_l3  cm_d2s_pmosHV_w15_l3_3
transform 0 -1 3416 1 0 426
box -124 -124 860 3124
<< labels >>
rlabel comment s 1916 794 1916 794 4 PCR
rlabel comment s 3566 694 3566 694 4 D
rlabel comment s 5216 794 5216 794 4 PCL
rlabel comment s 1916 1940 1916 1940 4 PCL
rlabel comment s 3566 2040 3566 2040 4 BPC
rlabel comment s 5216 1940 5216 1940 4 PCR
rlabel metal2 s 0 1197 100 1249 4 l2
port 2 nsew
rlabel metal2 s 0 1389 100 1441 4 vbpc
port 3 nsew
rlabel metal2 s 0 1485 100 1537 4 a
port 4 nsew
rlabel metal2 s 0 346 100 398 4 pr
port 5 nsew
rlabel metal2 s 0 250 100 302 4 pl
port 6 nsew
rlabel metal1 s 3366 124 3766 184 4 iovdd
port 7 nsew
<< properties >>
string GDS_END 136014
string GDS_FILE custom_io/gds/sg13cmos5l_IOPadDiff2Single.uniq.gds
string GDS_START 110590
<< end >>

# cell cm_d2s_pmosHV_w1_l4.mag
magic
tech ihp-sg13cmos5l
<< nwell >>
rect -62 -62 530 162
<< hvpmos >>
rect 34 0 434 100
<< hvpdiff >>
rect 0 93 34 100
rect 0 77 7 93
rect 23 77 34 93
rect 0 58 34 77
rect 0 42 7 58
rect 23 42 34 58
rect 0 23 34 42
rect 0 7 7 23
rect 23 7 34 23
rect 0 0 34 7
rect 434 93 468 100
rect 434 77 445 93
rect 461 77 468 93
rect 434 58 468 77
rect 434 42 445 58
rect 461 42 468 58
rect 434 23 468 42
rect 434 7 445 23
rect 461 7 468 23
rect 434 0 468 7
<< hvpdiffc >>
rect 7 77 23 93
rect 7 42 23 58
rect 7 7 23 23
rect 445 77 461 93
rect 445 42 461 58
rect 445 7 461 23
<< poly >>
rect 34 100 434 118
rect 34 -18 434 0
<< metal1 >>
rect 7 93 23 100
rect 7 58 23 77
rect 7 23 23 42
rect 7 0 23 7
rect 445 93 461 100
rect 445 58 461 77
rect 445 23 461 42
rect 445 0 461 7
<< labels >>
flabel comment s 234 50 234 50 0 FreeSans 100 90 0 0 pmosHV
<< properties >>
string GDS_END 19624
string GDS_FILE custom_io/gds/sg13cmos5l_IOPadDiff2Single.uniq.gds
string GDS_START 18262
<< end >>

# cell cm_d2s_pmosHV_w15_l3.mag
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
